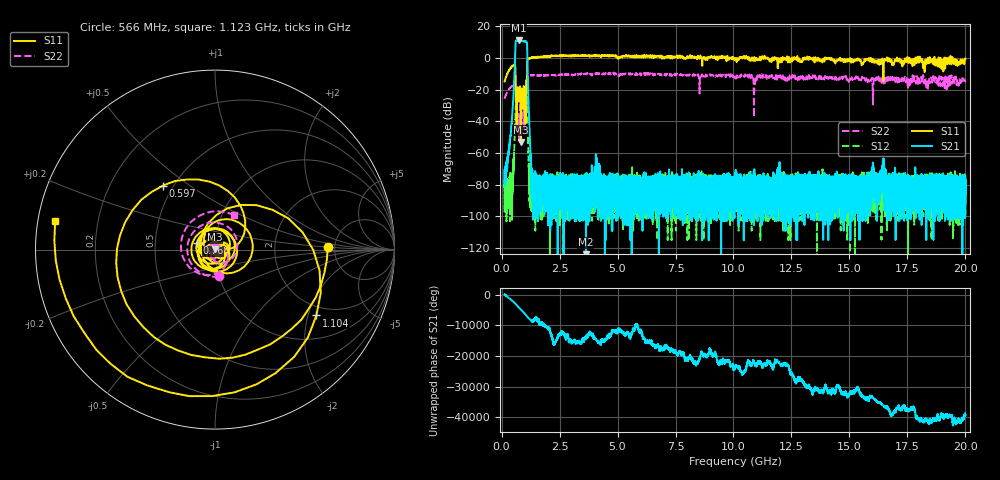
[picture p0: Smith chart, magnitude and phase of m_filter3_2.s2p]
!Created with skrf (http://scikit-rf.org).
# GHz S RI R 50.0
!freq ReS11 ImS11 ReS21 ImS21 ReS12 ImS12 ReS22 ImS22
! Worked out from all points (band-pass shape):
!   20013 points, 130 MHz to 20 GHz, reference 50 ohm
!   highest |S21| = 11.17 dB at 735 MHz (marker M1); lowest = -178.6 dB at 3.637 GHz (marker M2)
!   |S21| within 3 dB of the highest: 598.5 MHz to 1.1 GHz (501.1 MHz wide, 59 % of centre)
!   lowest |S11| = -52.9 dB at 831 MHz (marker M3), VSWR 1.00, Z = 50 + j0.224 ohm
!   |S11| at or under -10 dB: start of sweep to 240.8 MHz; 603.8 MHz to 1.097 GHz (492.8 MHz wide, 58 % of centre); 16.45826 GHz to 16.46927 GHz (11.01 MHz wide, 0.0669 % of centre) (the widest 3 of 4)
!   |S22| runs from -52.4 to -9.2 dB; largest |S21 - S12| = 3.6
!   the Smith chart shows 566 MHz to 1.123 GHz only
!   S11 on the Smith chart (normalised r, x): 566 MHz: 4.37, +0.17; 597 MHz: 0.44, +0.40; 760 MHz: 0.81, +0.06; 1.104 GHz: 1.69, -2.27; 1.123 GHz: 0.05, +0.09
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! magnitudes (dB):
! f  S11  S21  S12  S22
! 130 MHz  -14.7  -80.5  -79.7  -25.7
! 425 MHz  -5.6  -42.3  -81.2  -18.0
! 566 MHz  -4.0  -5.9  -48.4  -16.4
! 597 MHz  -6.8  7.7  -34.1  -17.5
! 735 MHz  -27.1  11.2  -27.8  -35.5
! 760 MHz  -19.4  11.0  -27.5  -48.6
! 831 MHz  -52.9  10.9  -26.4  -32.8
! 1.014 GHz  -32.9  10.6  -24.5  -29.9
! 1.104 GHz  -3.4  6.0  -28.3  -16.4
! 1.123 GHz  -0.9  -7.5  -41.5  -13.2
! 1.265 GHz  0.1  -65.9  -79.9  -10.9
! 1.392 GHz  0.5  -85.5  -85.2  -10.7
! 3.442 GHz  1.7  -82.1  -78.5  -9.7
! 3.637 GHz  1.8  -178.6  -81.4  -9.9
! 4.145 GHz  1.7  -76.9  -83.5  -9.6
! 4.359 GHz  1.3  -78.3  -87.4  -10.3
! 6.754 GHz  1.5  -82.8  -84.7  -9.9
! 10.06 GHz  0.0  -81.2  -82.5  -11.1
! 13.38 GHz  -0.3  -82.1  -81.8  -12.6
! 16.41 GHz  -0.5  -75.1  -90.2  -12.7
! 16.69 GHz  0.0  -84.4  -82.9  -12.8
! 20 GHz  -0.5  -85.6  -81.9  -14.3
